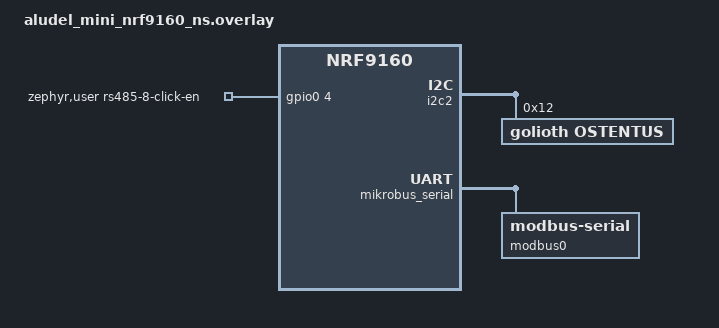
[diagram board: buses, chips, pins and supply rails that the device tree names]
/*
 * Copyright (c) 2024 Golioth, Inc.
 *
 * SPDX-License-Identifier: Apache-2.0
 */

/ {
	zephyr,user {
		rs485-8-click-en-gpios = <&gpio0 4 GPIO_ACTIVE_HIGH>;
	};
};

&i2c2 {
    /* Needed for I2C writes used by libostentus */
    zephyr,concat-buf-size = <48>;

    ostentus@12 {
        status = "okay";
        compatible = "golioth,ostentus";
        reg = <0x12>;
    };
};

/* On this board, mikrobus_spi == spi2 & mikrobus_serial == uart2, and a
 * limitation of the nRF9160 is that both can't be enabled simultaneously.
 * On this board, mikrobus_spi is enabled by default and mikrobus_serial is
 * disabled by default, so we need the following to enable mikrobus_serial:
 */
&mikrobus_spi {
	status = "disabled";
};

&mikrobus_serial {
	status = "okay";

	modbus0 {
		compatible = "zephyr,modbus-serial";
		status = "okay";
	};
};
